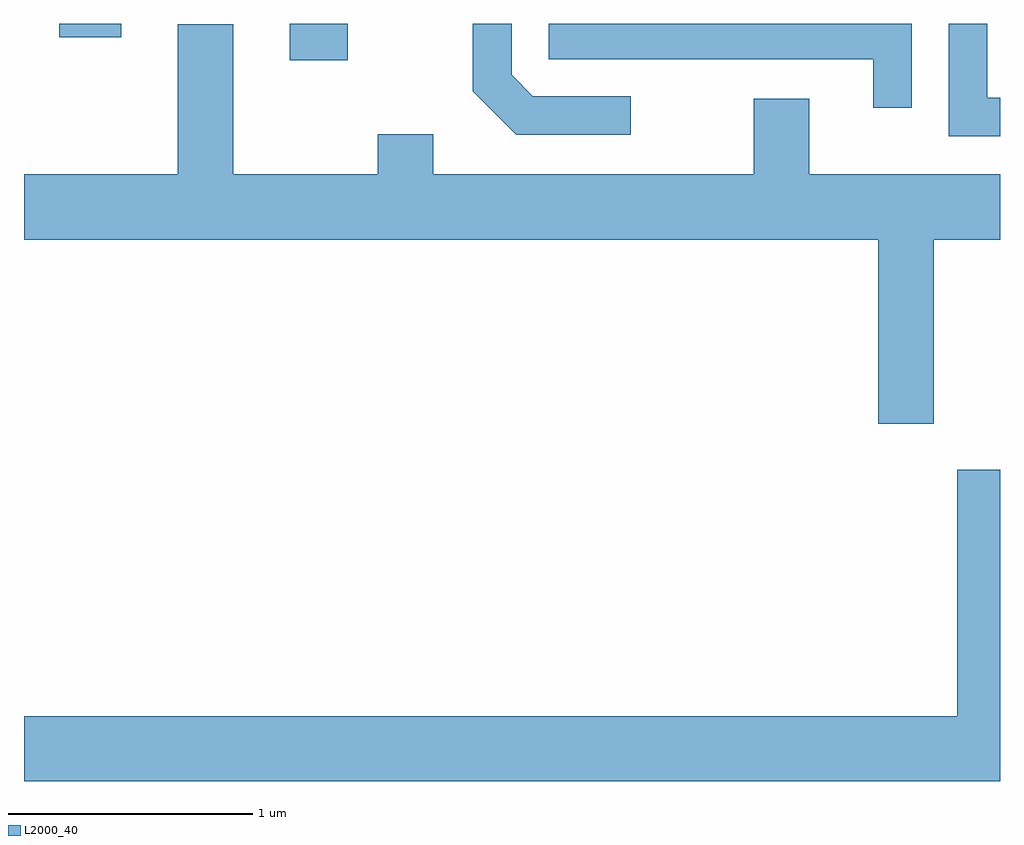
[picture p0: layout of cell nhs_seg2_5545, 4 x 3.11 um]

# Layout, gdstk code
import gdstk
lib = gdstk.Library(unit=1e-6, precision=1e-09)
def R(c, l, rs):  # rectangles x0, y0, x1, y1
    for r in rs: c.add(gdstk.rectangle(r[:2], r[2:], *l))
def P(c, l, *ps):  # polygons
    for p in ps: c.add(gdstk.Polygon(p, *l))
L2000_40 = (2000, 40)

nhs_seg2_5545 = lib.new_cell('nhs_seg2_5545')
R(nhs_seg2_5545, L2000_40, [(348.701,1115.651,348.938,1115.802), (347.756,1115.746,348.009,1115.802)])
P(nhs_seg2_5545, L2000_40, [(350.098,1115.504),(349.697,1115.504),(349.609,1115.592),(349.609,1115.802),(349.451,1115.802),(349.451,1115.524),(349.629,1115.346),(350.098,1115.346)],
  [(351.611,1115.499),(351.559,1115.499),(351.559,1115.802),(351.401,1115.802),(351.401,1115.341),(351.611,1115.341)],
  [(351.249,1115.802),(349.761,1115.802),(349.761,1115.656),(351.091,1115.656),(351.091,1115.458),(351.249,1115.458)],
  [(351.339,1114.916),(351.611,1114.916),(351.611,1115.184),(350.829,1115.184),(350.829,1115.494),(350.601,1115.494),(350.601,1115.184),(349.289,1115.184),(349.289,1115.349),(349.061,1115.349),(349.061,1115.184),(348.469,1115.184),(348.469,1115.799),(348.241,1115.799),(348.241,1115.184),(347.611,1115.184),(347.611,1114.916),(351.111,1114.916),(351.111,1114.161),(351.339,1114.161)],
  [(351.611,1113.974),(351.436,1113.974),(351.436,1112.964),(347.611,1112.964),(347.611,1112.696),(351.611,1112.696)])

lib.write_gds('nhs_seg2_5545.gds')
